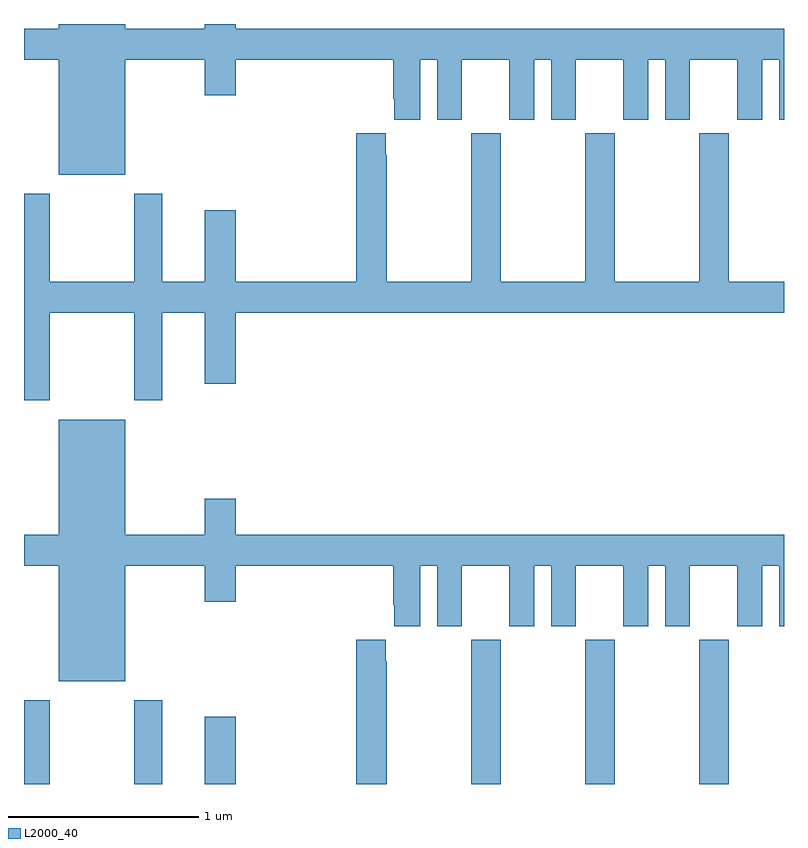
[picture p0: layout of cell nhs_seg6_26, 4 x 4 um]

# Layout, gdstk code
import gdstk
lib = gdstk.Library(unit=1e-6, precision=1e-09)
def R(c, l, rs):  # rectangles x0, y0, x1, y1
    for r in rs: c.add(gdstk.rectangle(r[:2], r[2:], *l))
def A(c, l, x, y, w, h, nx, ny, dx, dy):  # array of equal rectangles
    R(c, l, [(x+i*dx, y+j*dy, x+i*dx+w, y+j*dy+h) for i in range(nx) for j in range(ny)])
def P(c, l, *ps):  # polygons
    for p in ps: c.add(gdstk.Polygon(p, *l))
L2000_40 = (2000, 40)

nhs_seg6_26 = lib.new_cell('nhs_seg6_26')
A(nhs_seg6_26, L2000_40, 113.353, 967.5, 0.155, 0.76, 3, 1, 0.6, 0)
R(nhs_seg6_26, L2000_40, [(111,967.5,111.135,967.942), (111.58,967.5,111.727,967.942), (111.95,967.5,112.114,967.855)])
P(nhs_seg6_26, L2000_40, [(111.532,971.312),(111.95,971.312),(111.95,971.124),(112.114,971.124),(112.114,971.312),(112.943,971.312),(112.943,971.107),(112.949,971.107),(112.949,970.995),(113.086,970.995),(113.086,971.312),(113.174,971.312),(113.174,970.995),(113.305,970.995),(113.305,971.312),(113.555,971.312),(113.555,970.995),(113.686,970.995),(113.686,971.312),(113.774,971.312),(113.774,970.995),(113.905,970.995),(113.905,971.312),(114.155,971.312),(114.155,970.995),(114.286,970.995),(114.286,971.312),(114.374,971.312),(114.374,970.995),(114.505,970.995),(114.505,971.312),(114.755,971.312),(114.755,970.995),(114.886,970.995),(114.886,971.312),(114.974,971.312),(114.974,970.995),(115,970.995),(115,971.476),(112.114,971.476),(112.114,971.5),(111.95,971.5),(111.95,971.476),(111.532,971.476),(111.532,971.5),(111.182,971.5),(111.182,971.476),(111,971.476),(111,971.312),(111.182,971.312),(111.182,970.706),(111.532,970.706)],
  [(111.135,969.98),(111.58,969.98),(111.58,969.519),(111.727,969.519),(111.727,969.98),(111.95,969.98),(111.95,969.606),(112.114,969.606),(112.114,969.98),(115,969.98),(115,970.144),(114.708,970.144),(114.708,970.924),(114.553,970.924),(114.553,970.144),(114.108,970.144),(114.108,970.924),(113.953,970.924),(113.953,970.144),(113.508,970.144),(113.508,970.924),(113.353,970.924),(113.353,970.144),(112.908,970.144),(112.908,970.811),(112.903,970.811),(112.903,970.924),(112.748,970.924),(112.748,970.144),(112.114,970.144),(112.114,970.519),(111.95,970.519),(111.95,970.144),(111.727,970.144),(111.727,970.606),(111.58,970.606),(111.58,970.144),(111.135,970.144),(111.135,970.606),(111,970.606),(111,969.519),(111.135,969.519)],
  [(111.532,968.648),(111.95,968.648),(111.95,968.46),(112.114,968.46),(112.114,968.648),(112.943,968.648),(112.943,968.443),(112.949,968.443),(112.949,968.331),(113.086,968.331),(113.086,968.648),(113.174,968.648),(113.174,968.331),(113.305,968.331),(113.305,968.648),(113.555,968.648),(113.555,968.331),(113.686,968.331),(113.686,968.648),(113.774,968.648),(113.774,968.331),(113.905,968.331),(113.905,968.648),(114.155,968.648),(114.155,968.331),(114.286,968.331),(114.286,968.648),(114.374,968.648),(114.374,968.331),(114.505,968.331),(114.505,968.648),(114.755,968.648),(114.755,968.331),(114.886,968.331),(114.886,968.648),(114.974,968.648),(114.974,968.331),(115,968.331),(115,968.812),(112.114,968.812),(112.114,969.001),(111.95,969.001),(111.95,968.812),(111.532,968.812),(111.532,969.418),(111.182,969.418),(111.182,968.812),(111,968.812),(111,968.648),(111.182,968.648),(111.182,968.042),(111.532,968.042)],
  [(112.908,968.147),(112.903,968.147),(112.903,968.26),(112.748,968.26),(112.748,967.5),(112.908,967.5)])

lib.write_gds('nhs_seg6_26.gds')
